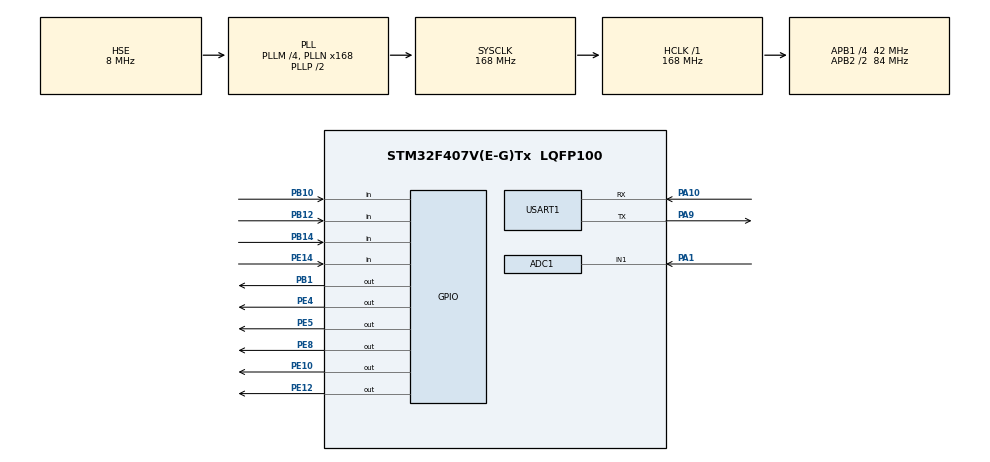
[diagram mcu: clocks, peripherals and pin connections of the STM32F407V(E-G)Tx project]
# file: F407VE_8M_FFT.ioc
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Mcu.Family=STM32F4
PE12.GPIO_ModeDefaultOutputPP=GPIO_MODE_OUTPUT_PP
PE8.PinState=GPIO_PIN_SET
PH0-OSC_IN.Signal=RCC_OSC_IN
PE4.GPIO_ModeDefaultOutputPP=GPIO_MODE_OUTPUT_PP
RCC.CortexFreq_Value=168000000
PB10.GPIO_PuPd=GPIO_PULLDOWN
ADC1.ContinuousConvMode=ENABLE
PE8.GPIO_PuPd=GPIO_PULLUP
PE10.GPIO_PuPd=GPIO_PULLUP
RCC.SYSCLKSource=RCC_SYSCLKSOURCE_PLLCLK
ProjectManager.StackSize=0x400
PE5.GPIO_PuPd=GPIO_PULLUP
PB1.GPIO_PuPd=GPIO_PULLUP
RCC.HCLKFreq_Value=168000000
RCC.APB2TimFreq_Value=168000000
Dma.ADC1.0.Direction=DMA_PERIPH_TO_MEMORY
NVIC.DMA2_Stream0_IRQn=true\:0\:0\:false\:false\:true\:false\:true
PE5.Signal=GPIO_Output
Dma.ADC1.0.MemDataAlignment=DMA_MDATAALIGN_HALFWORD
RCC.AHBFreq_Value=168000000
PH0-OSC_IN.Mode=HSE-External-Oscillator
ADC1.Channel-0\#ChannelRegularConversion=ADC_CHANNEL_1
RCC.HSE_VALUE=8000000
PC14-OSC32_IN.Mode=LSE-External-Oscillator
PB1.GPIO_Speed=GPIO_SPEED_FREQ_VERY_HIGH
PA14.Mode=Serial_Wire
PE4.GPIO_Speed=GPIO_SPEED_FREQ_VERY_HIGH
Dma.ADC1.0.PeriphInc=DMA_PINC_DISABLE
PE5.PinState=GPIO_PIN_SET
PE10.GPIO_ModeDefaultOutputPP=GPIO_MODE_OUTPUT_PP
PE10.GPIO_Speed=GPIO_SPEED_FREQ_VERY_HIGH
PE10.Signal=GPIO_Output
PE4.Signal=GPIO_Output
ADC1.SamplingTime-0\#ChannelRegularConversion=ADC_SAMPLETIME_3CYCLES
PB1.PinState=GPIO_PIN_SET
PH1-OSC_OUT.Mode=HSE-External-Oscillator
PB12.GPIO_Mode=GPIO_MODE_INPUT
Mcu.Package=LQFP100
TIM2.Prescaler=10000
PB1.Signal=GPIO_Output
PB14.GPIO_PuPd=GPIO_PULLDOWN
PA10.Signal=USART1_RX
PE12.GPIO_Speed=GPIO_SPEED_FREQ_VERY_HIGH
TIM2.TIM_MasterOutputTrigger=TIM_TRGO_UPDATE
PE8.GPIO_Speed=GPIO_SPEED_FREQ_VERY_HIGH
RCC.APB2CLKDivider=RCC_HCLK_DIV2
SH.ADCx_IN1.0=ADC1_IN1,IN1
RCC.APB1TimFreq_Value=84000000
PE8.GPIO_ModeDefaultOutputPP=GPIO_MODE_OUTPUT_PP
Dma.ADC1.0.FIFOMode=DMA_FIFOMODE_DISABLE
PE14.GPIO_Mode=GPIO_MODE_INPUT
NVIC.USART1_IRQn=true\:0\:0\:false\:false\:true\:true\:true
Dma.Request0=ADC1
PE12.GPIO_PuPd=GPIO_PULLUP
PE10.PinState=GPIO_PIN_SET
RCC.PLLSourceVirtual=RCC_PLLSOURCE_HSE
PC15-OSC32_OUT.Mode=LSE-External-Oscillator
Dma.ADC1.0.Instance=DMA2_Stream0
ADC1.Rank-0\#ChannelRegularConversion=1
PA10.Mode=Asynchronous
RCC.APB1CLKDivider=RCC_HCLK_DIV4
PC14-OSC32_IN.Signal=RCC_OSC32_IN
PA13.Signal=SYS_JTMS-SWDIO
Dma.ADC1.0.PeriphDataAlignment=DMA_PDATAALIGN_HALFWORD
PA9.Mode=Asynchronous
PB10.GPIO_Mode=GPIO_MODE_INPUT
ProjectManager.TargetToolchain=MDK-ARM V5.27
Dma.ADC1.0.Mode=DMA_CIRCULAR
Dma.ADC1.0.Priority=DMA_PRIORITY_VERY_HIGH
PA9.Signal=USART1_TX
PC15-OSC32_OUT.Signal=RCC_OSC32_OUT
PA1.Signal=ADCx_IN1
PB10.Signal=GPIO_Input
PB14.Signal=GPIO_Input
board=custom
RCC.VCOOutputFreq_Value=336000000
RCC.APB2Freq_Value=84000000
PE14.Signal=GPIO_Input
VP_TIM2_VS_ClockSourceINT.Mode=Internal
PE8.Signal=GPIO_Output
PH1-OSC_OUT.Signal=RCC_OSC_OUT
PE14.GPIO_PuPd=GPIO_PULLDOWN
ADC1.DMAContinuousRequests=ENABLE
TIM2.Period=168
PA13.Mode=Serial_Wire
Mcu.Name=STM32F407V(E-G)Tx
PE12.Signal=GPIO_Output
PE4.GPIO_PuPd=GPIO_PULLUP
PE12.PinState=GPIO_PIN_SET
ADC1.ExternalTrigConv=ADC_EXTERNALTRIGCONV_T2_TRGO
RCC.48MHZClocksFreq_Value=84000000
RCC.SYSCLKFreq_VALUE=168000000
ADC1.master=1
USART1.VirtualMode=VM_ASYNC
PA14.Signal=SYS_JTCK-SWCLK
Dma.ADC1.0.MemInc=DMA_MINC_ENABLE
ProjectManager.HeapSize=0x200
PE5.GPIO_ModeDefaultOutputPP=GPIO_MODE_OUTPUT_PP
RCC.HSI_VALUE=16000000
NVIC.PriorityGroup=NVIC_PRIORITYGROUP_4
ADC1.NbrOfConversionFlag=1
RCC.PLLM=4
RCC.PLLN=168
PE5.GPIO_Speed=GPIO_SPEED_FREQ_VERY_HIGH
TIM2.AutoReloadPreload=TIM_AUTORELOAD_PRELOAD_ENABLE
PE4.PinState=GPIO_PIN_SET
PB1.GPIO_ModeDefaultOutputPP=GPIO_MODE_OUTPUT_PP
PB12.GPIO_PuPd=GPIO_PULLDOWN
RCC.APB1Freq_Value=42000000
PB14.GPIO_Mode=GPIO_MODE_INPUT
PB12.Signal=GPIO_Input

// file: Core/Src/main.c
/* USER CODE BEGIN Header */
/**
  ******************************************************************************
  * @file           : main.c
  * @brief          : Main program body
  ******************************************************************************
  * @attention
  *
  * <h2><center>&copy; Copyright (c) 2020 STMicroelectronics.
  * All rights reserved.</center></h2>
  *
  * This software component is licensed by ST under BSD 3-Clause license,
  * the "License"; You may not use this file except in compliance with the
  * License. You may obtain a copy of the License at:
  *                        opensource.org/licenses/BSD-3-Clause
  *
  ******************************************************************************
  */
/* USER CODE END Header */
#include "main.h"
#include "adc.h"
#include "dma.h"
#include "tim.h"
#include "usart.h"
#include "gpio.h"

/* USER CODE BEGIN Includes */
#include "DELAY/delay.h"
#include "arm_math.h"
/* USER CODE END Includes */

/* USER CODE BEGIN PM */
#define FFT_LENGTH 256
/* USER CODE END PM */

/* USER CODE BEGIN PV */
uint16_t val[128];
float fft_input[FFT_LENGTH*2];
float fft_output[FFT_LENGTH];
float fft_phase[FFT_LENGTH];
arm_cfft_radix4_instance_f32 scfft;
/* USER CODE END PV */

void SystemClock_Config(void);

int main(void)
{

  /* MCU Configuration--------------------------------------------------------*/

  /* Reset of all peripherals, Initializes the Flash interface and the Systick. */
  HAL_Init();

  /* Configure the system clock */
  SystemClock_Config();

  /* Initialize all configured peripherals */
  MX_GPIO_Init();
  MX_DMA_Init();
  MX_USART1_UART_Init();
  MX_ADC1_Init();
  MX_TIM2_Init();
  /* USER CODE BEGIN 2 */
  Delay_Init(168);
  HAL_ADC_Start_DMA(&hadc1,(uint32_t*)val,128);
  HAL_TIM_Base_Start(&htim2);
  /* USER CODE END 2 */

  /* Infinite loop */
  while (1)
  {

    /* USER CODE BEGIN 3 */
    Delay_ms(20);
  }
  /* USER CODE END 3 */
}

void SystemClock_Config(void)
{
  RCC_OscInitTypeDef RCC_OscInitStruct = {0};
  RCC_ClkInitTypeDef RCC_ClkInitStruct = {0};

  /** Configure the main internal regulator output voltage
  */
  __HAL_RCC_PWR_CLK_ENABLE();
  __HAL_PWR_VOLTAGESCALING_CONFIG(PWR_REGULATOR_VOLTAGE_SCALE1);
  /** Initializes the RCC Oscillators according to the specified parameters
  * in the RCC_OscInitTypeDef structure.
  */
  RCC_OscInitStruct.OscillatorType = RCC_OSCILLATORTYPE_HSE;
  RCC_OscInitStruct.HSEState = RCC_HSE_ON;
  RCC_OscInitStruct.PLL.PLLState = RCC_PLL_ON;
  RCC_OscInitStruct.PLL.PLLSource = RCC_PLLSOURCE_HSE;
  RCC_OscInitStruct.PLL.PLLM = 4;
  RCC_OscInitStruct.PLL.PLLN = 168;
  RCC_OscInitStruct.PLL.PLLP = RCC_PLLP_DIV2;
  RCC_OscInitStruct.PLL.PLLQ = 4;
  if (HAL_RCC_OscConfig(&RCC_OscInitStruct) != HAL_OK)
  {
    Error_Handler();
  }
  /** Initializes the CPU, AHB and APB buses clocks
  */
  RCC_ClkInitStruct.ClockType = RCC_CLOCKTYPE_HCLK|RCC_CLOCKTYPE_SYSCLK
                              |RCC_CLOCKTYPE_PCLK1|RCC_CLOCKTYPE_PCLK2;
  RCC_ClkInitStruct.SYSCLKSource = RCC_SYSCLKSOURCE_PLLCLK;
  RCC_ClkInitStruct.AHBCLKDivider = RCC_SYSCLK_DIV1;
  RCC_ClkInitStruct.APB1CLKDivider = RCC_HCLK_DIV4;
  RCC_ClkInitStruct.APB2CLKDivider = RCC_HCLK_DIV2;

  if (HAL_RCC_ClockConfig(&RCC_ClkInitStruct, FLASH_LATENCY_5) != HAL_OK)
  {
    Error_Handler();
  }
}

/* USER CODE BEGIN 4 */
void fft()
{
  arm_cfft_radix4_init_f32(&scfft,FFT_LENGTH,0,1);

  arm_cfft_radix4_f32(&scfft,fft_input);

  arm_cmplx_mag_f32(fft_input,fft_output,FFT_LENGTH);
}
/* USER CODE END 4 */

void Error_Handler(void)
{
}

/************************ (C) COPYRIGHT STMicroelectronics *****END OF FILE****/
